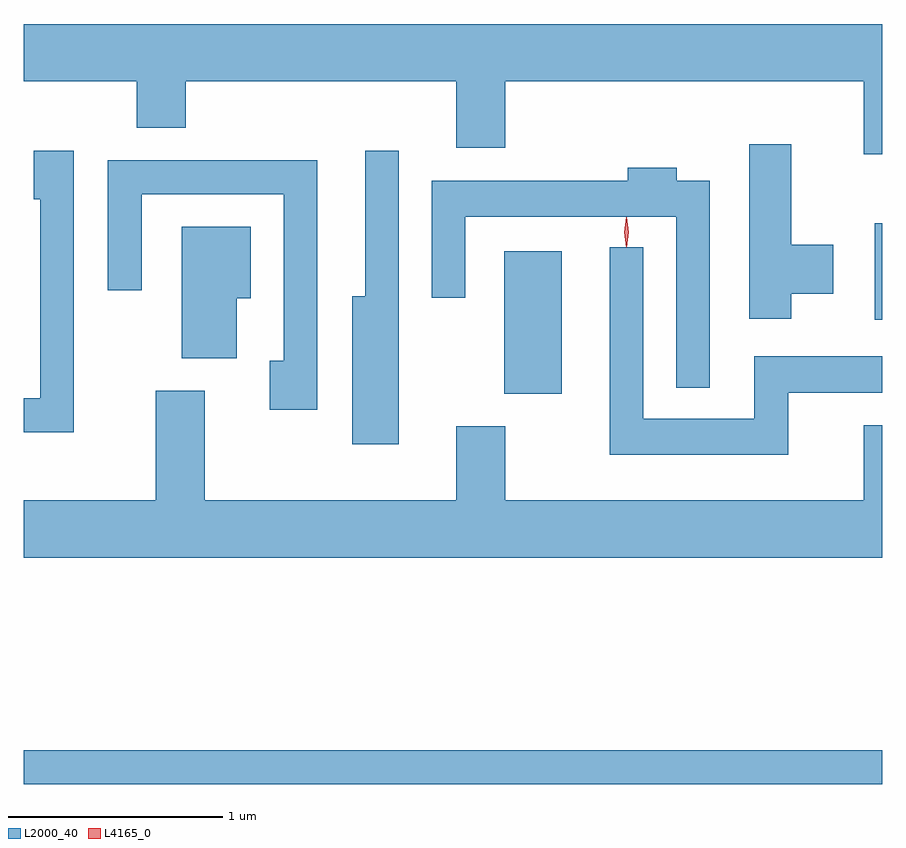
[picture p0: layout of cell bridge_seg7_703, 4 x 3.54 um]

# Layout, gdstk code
import gdstk
lib = gdstk.Library(unit=1e-6, precision=1e-09)
def R(c, l, rs):  # rectangles x0, y0, x1, y1
    for r in rs: c.add(gdstk.rectangle(r[:2], r[2:], *l))
def P(c, l, *ps):  # polygons
    for p in ps: c.add(gdstk.Polygon(p, *l))
L2000_40 = (2000, 40)
L4165_0 = (4165, 0)

bridge_seg7_703 = lib.new_cell('bridge_seg7_703')
R(bridge_seg7_703, L2000_40, [(605.226,1802.061,609.226,1802.219), (607.466,1803.881,607.734,1804.544), (609.191,1804.226,609.226,1804.674)])
P(bridge_seg7_703, L2000_40, [(609.226,1805.604),(605.226,1805.604),(605.226,1805.336),(605.751,1805.336),(605.751,1805.121),(605.979,1805.121),(605.979,1805.336),(607.241,1805.336),(607.241,1805.026),(607.469,1805.026),(607.469,1805.336),(609.141,1805.336),(609.141,1804.996),(609.226,1804.996)],
  [(608.804,1804.346),(608.999,1804.346),(608.999,1804.574),(608.804,1804.574),(608.804,1805.044),(608.606,1805.044),(608.606,1804.231),(608.804,1804.231)],
  [(605.459,1805.014),(605.271,1805.014),(605.271,1804.786),(605.301,1804.786),(605.301,1803.859),(605.226,1803.859),(605.226,1803.701),(605.459,1803.701)],
  [(606.974,1805.013),(606.816,1805.013),(606.816,1804.334),(606.756,1804.334),(606.756,1803.646),(606.974,1803.646)],
  [(606.594,1804.969),(605.616,1804.969),(605.616,1804.363),(605.774,1804.363),(605.774,1804.811),(606.436,1804.811),(606.436,1804.034),(606.371,1804.034),(606.371,1803.806),(606.594,1803.806)],
  [(608.424,1804.874),(608.269,1804.874),(608.269,1804.934),(608.041,1804.934),(608.041,1804.874),(607.126,1804.874),(607.126,1804.328),(607.284,1804.328),(607.284,1804.706),(608.266,1804.706),(608.266,1803.908),(608.424,1803.908)],
  [(606.219,1804.326),(606.284,1804.326),(606.284,1804.659),(605.961,1804.659),(605.961,1804.046),(606.219,1804.046)],
  [(608.789,1803.886),(609.226,1803.886),(609.226,1804.054),(608.631,1804.054),(608.631,1803.764),(608.114,1803.764),(608.114,1804.563),(607.956,1804.563),(607.956,1803.596),(608.789,1803.596)],
  [(609.226,1803.734),(609.141,1803.734),(609.141,1803.384),(607.469,1803.384),(607.469,1803.729),(607.241,1803.729),(607.241,1803.384),(606.069,1803.384),(606.069,1803.894),(605.841,1803.894),(605.841,1803.384),(605.226,1803.384),(605.226,1803.116),(609.226,1803.116)])
P(bridge_seg7_703, L4165_0, [(608.035,1804.563),(608.034,1804.564),(608.025,1804.633),(608.034,1804.702),(608.035,1804.703),(608.035,1804.702),(608.045,1804.633),(608.035,1804.564)],
  [(608.035,1804.567),(608.034,1804.568),(608.025,1804.634),(608.034,1804.7),(608.035,1804.701),(608.035,1804.7),(608.045,1804.634),(608.035,1804.568)])

lib.write_gds('bridge_seg7_703.gds')
